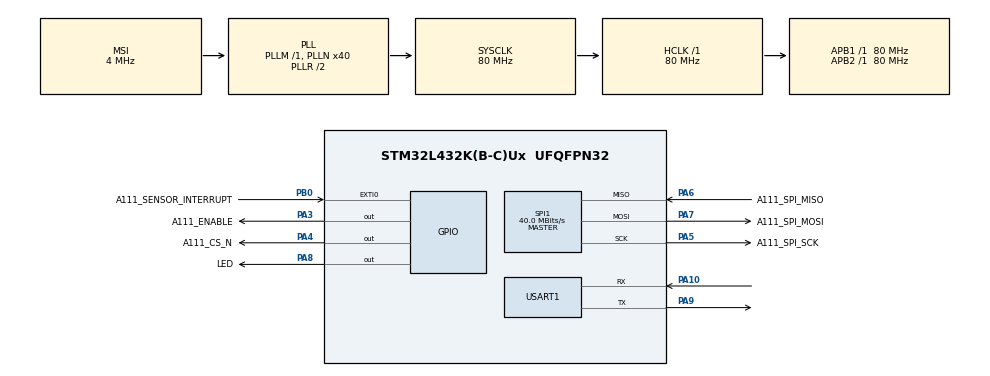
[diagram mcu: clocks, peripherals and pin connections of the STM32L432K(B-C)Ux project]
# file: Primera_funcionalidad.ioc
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Mcu.Family=STM32L4
Mcu.Name=STM32L432K(B-C)Ux
Mcu.Package=UFQFPN32
NVIC.EXTI0_IRQn=true\:0\:0\:false\:false\:true\:true\:true\:true
NVIC.PriorityGroup=NVIC_PRIORITYGROUP_4
NVIC.USART1_IRQn=true\:0\:0\:false\:false\:true\:true\:true\:true
PA10.Mode=Asynchronous
PA10.Signal=USART1_RX
PA13\ (JTMS-SWDIO).Mode=Trace_Asynchronous_SW
PA13\ (JTMS-SWDIO).Signal=SYS_JTMS-SWDIO
PA14\ (JTCK-SWCLK).Mode=Trace_Asynchronous_SW
PA14\ (JTCK-SWCLK).Signal=SYS_JTCK-SWCLK
PA3.GPIO_Label=A111_ENABLE
PA3.Signal=GPIO_Output
PA4.GPIO_Label=A111_CS_N
PA4.Signal=GPIO_Output
PA5.GPIO_Label=A111_SPI_SCK
PA5.Mode=Full_Duplex_Master
PA5.Signal=SPI1_SCK
PA6.GPIO_Label=A111_SPI_MISO
PA6.Mode=Full_Duplex_Master
PA6.Signal=SPI1_MISO
PA7.GPIO_Label=A111_SPI_MOSI
PA7.Mode=Full_Duplex_Master
PA7.Signal=SPI1_MOSI
PA8.GPIO_Label=LED
PA8.Signal=GPIO_Output
PA9.Mode=Asynchronous
PA9.Signal=USART1_TX
PB0.GPIO_Label=A111_SENSOR_INTERRUPT
PB0.Signal=GPXTI0
PB3\ (JTDO-TRACESWO).Mode=Trace_Asynchronous_SW
PB3\ (JTDO-TRACESWO).Signal=SYS_JTDO-SWO
PC14-OSC32_IN\ (PC14).Mode=LSE-External-Oscillator
PC14-OSC32_IN\ (PC14).Signal=RCC_OSC32_IN
PC15-OSC32_OUT\ (PC15).Mode=LSE-External-Oscillator
PC15-OSC32_OUT\ (PC15).Signal=RCC_OSC32_OUT
ProjectManager.HeapSize=0x200
ProjectManager.StackSize=0x400
ProjectManager.TargetToolchain=STM32CubeIDE
RCC.AHBFreq_Value=80000000
RCC.APB1Freq_Value=80000000
RCC.APB1TimFreq_Value=80000000
RCC.APB2Freq_Value=80000000
RCC.APB2TimFreq_Value=80000000
RCC.CortexFreq_Value=80000000
RCC.HCLKFreq_Value=80000000
RCC.HSE_VALUE=8000000
RCC.HSI48_VALUE=48000000
RCC.HSI_VALUE=16000000
RCC.MSI_VALUE=4000000
RCC.PLLN=40
RCC.RTCClockSelection=RCC_RTCCLKSOURCE_LSE
RCC.SYSCLKFreq_VALUE=80000000
RCC.SYSCLKSource=RCC_SYSCLKSOURCE_PLLCLK
RCC.VCOOutputFreq_Value=160000000
SPI1.CalculateBaudRate=40.0 MBits/s
SPI1.DataSize=SPI_DATASIZE_8BIT
SPI1.Direction=SPI_DIRECTION_2LINES
SPI1.Mode=SPI_MODE_MASTER
SPI1.VirtualType=VM_MASTER
USART1.SwapParam=ADVFEATURE_SWAP_DISABLE
USART1.VirtualMode-Asynchronous=VM_ASYNC
VP_RTC_VS_RTC_Activate.Mode=RTC_Enabled
board=custom

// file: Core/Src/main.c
/* USER CODE BEGIN Header */
/**
  ******************************************************************************
  * @file           : main.c
  * @brief          : Main program body
  ******************************************************************************
  * @attention
  *
  * <h2><center>&copy; Copyright (c) 2022 STMicroelectronics.
  * All rights reserved.</center></h2>
  *
  * This software component is licensed by ST under BSD 3-Clause license,
  * the "License"; You may not use this file except in compliance with the
  * License. You may obtain a copy of the License at:
  *                        opensource.org/licenses/BSD-3-Clause
  *
  ******************************************************************************
  */
/* USER CODE END Header */
#include "main.h"

/* USER CODE BEGIN Includes */

# include "example_assembly_test.h"

/* USER CODE END Includes */

RTC_HandleTypeDef hrtc;

SPI_HandleTypeDef hspi1;

UART_HandleTypeDef huart1;

/* USER CODE BEGIN PV */

uint8_t UART1_rxBuffer[12] = {0};

/* USER CODE END PV */

void SystemClock_Config(void);
static void MX_GPIO_Init(void);
static void MX_RTC_Init(void);
static void MX_SPI1_Init(void);
static void MX_USART1_UART_Init(void);
/* USER CODE BEGIN PFP */

extern int acc_ref_app_rf_certification_test ( int argc , char * argv []) ;
extern int acc_ref_app_smart_presence ( int argc , char * argv []) ;
extern int acc_ref_app_tank_level ( int argc , char * argv []) ;

/* USER CODE END PFP */

/* USER CODE BEGIN 0 */

/*int _write(int file ,char*ptr ,int len)
{
int i = 0;
for ( i = 0; i < len ; i ++)
{
ITM_SendChar ((* ptr ++) ) ;
}
return len ;
}*/

int _write(int file ,char*ptr ,int len)
{
(void) file ;
HAL_UART_Transmit (&huart1, ptr, len, 0xFFFF);
return len ;
}

/* USER CODE END 0 */

int main(void)
{

  /* MCU Configuration--------------------------------------------------------*/

  /* Reset of all peripherals, Initializes the Flash interface and the Systick. */
  HAL_Init();

  /* Configure the system clock */
  SystemClock_Config();

  /* Initialize all configured peripherals */
  MX_GPIO_Init();
  MX_RTC_Init();
  MX_SPI1_Init();
  MX_USART1_UART_Init();
  /* USER CODE BEGIN 2 */

  acc_ref_app_parking(0, NULL);
  acc_ref_app_smart_presence(0, NULL);
  acc_ref_app_tank_level(0, NULL);

  //acc_example_detector_distance(0, NULL);
  //acc_example_detector_distance_recorded(0, NULL);
  //acc_example_detector_presence(0, NULL);
  //acc_example_get_next_by_reference(0, NULL);

  //acc_example_service_power_bins(0, NULL);
  //acc_example_service_iq(0, NULL);
  //acc_example_service_sparse(0, NULL);
  //acc_example_service_envelope(0, NULL);
  //acc_example_multiple_service_usage(0, NULL);

  //acc_example_error_handling(0, NULL);    // check_distance_config_tool
  //acc_example_bring_up(0, NULL);
  //acc_ref_app_rf_certification_test(0, NULL);

  HAL_UART_Receive_IT (&huart1, UART1_rxBuffer, 12);

  /* USER CODE END 2 */

  /* Infinite loop */
  while (1)
  {

  }
}

void SystemClock_Config(void)
{
  RCC_OscInitTypeDef RCC_OscInitStruct = {0};
  RCC_ClkInitTypeDef RCC_ClkInitStruct = {0};

  /** Configure the main internal regulator output voltage
  */
  if (HAL_PWREx_ControlVoltageScaling(PWR_REGULATOR_VOLTAGE_SCALE1) != HAL_OK)
  {
    Error_Handler();
  }
  /** Configure LSE Drive Capability
  */
  HAL_PWR_EnableBkUpAccess();
  __HAL_RCC_LSEDRIVE_CONFIG(RCC_LSEDRIVE_LOW);
  /** Initializes the RCC Oscillators according to the specified parameters
  * in the RCC_OscInitTypeDef structure.
  */
  RCC_OscInitStruct.OscillatorType = RCC_OSCILLATORTYPE_LSE|RCC_OSCILLATORTYPE_MSI;
  RCC_OscInitStruct.LSEState = RCC_LSE_ON;
  RCC_OscInitStruct.MSIState = RCC_MSI_ON;
  RCC_OscInitStruct.MSICalibrationValue = 0;
  RCC_OscInitStruct.MSIClockRange = RCC_MSIRANGE_6;
  RCC_OscInitStruct.PLL.PLLState = RCC_PLL_ON;
  RCC_OscInitStruct.PLL.PLLSource = RCC_PLLSOURCE_MSI;
  RCC_OscInitStruct.PLL.PLLM = 1;
  RCC_OscInitStruct.PLL.PLLN = 40;
  RCC_OscInitStruct.PLL.PLLP = RCC_PLLP_DIV7;
  RCC_OscInitStruct.PLL.PLLQ = RCC_PLLQ_DIV2;
  RCC_OscInitStruct.PLL.PLLR = RCC_PLLR_DIV2;
  if (HAL_RCC_OscConfig(&RCC_OscInitStruct) != HAL_OK)
  {
    Error_Handler();
  }
  /** Initializes the CPU, AHB and APB buses clocks
  */
  RCC_ClkInitStruct.ClockType = RCC_CLOCKTYPE_HCLK|RCC_CLOCKTYPE_SYSCLK
                              |RCC_CLOCKTYPE_PCLK1|RCC_CLOCKTYPE_PCLK2;
  RCC_ClkInitStruct.SYSCLKSource = RCC_SYSCLKSOURCE_PLLCLK;
  RCC_ClkInitStruct.AHBCLKDivider = RCC_SYSCLK_DIV1;
  RCC_ClkInitStruct.APB1CLKDivider = RCC_HCLK_DIV1;
  RCC_ClkInitStruct.APB2CLKDivider = RCC_HCLK_DIV1;

  if (HAL_RCC_ClockConfig(&RCC_ClkInitStruct, FLASH_LATENCY_4) != HAL_OK)
  {
    Error_Handler();
  }
  /** Enable MSI Auto calibration
  */
  HAL_RCCEx_EnableMSIPLLMode();
}

static void MX_RTC_Init(void)
{

  /** Initialize RTC Only
  */
  hrtc.Instance = RTC;
  hrtc.Init.HourFormat = RTC_HOURFORMAT_24;
  hrtc.Init.AsynchPrediv = 127;
  hrtc.Init.SynchPrediv = 255;
  hrtc.Init.OutPut = RTC_OUTPUT_DISABLE;
  hrtc.Init.OutPutRemap = RTC_OUTPUT_REMAP_NONE;
  hrtc.Init.OutPutPolarity = RTC_OUTPUT_POLARITY_HIGH;
  hrtc.Init.OutPutType = RTC_OUTPUT_TYPE_OPENDRAIN;
  if (HAL_RTC_Init(&hrtc) != HAL_OK)
  {
    Error_Handler();
  }

}

static void MX_SPI1_Init(void)
{

  /* SPI1 parameter configuration*/
  hspi1.Instance = SPI1;
  hspi1.Init.Mode = SPI_MODE_MASTER;
  hspi1.Init.Direction = SPI_DIRECTION_2LINES;
  hspi1.Init.DataSize = SPI_DATASIZE_8BIT;
  hspi1.Init.CLKPolarity = SPI_POLARITY_LOW;
  hspi1.Init.CLKPhase = SPI_PHASE_1EDGE;
  hspi1.Init.NSS = SPI_NSS_SOFT;
  hspi1.Init.BaudRatePrescaler = SPI_BAUDRATEPRESCALER_2;
  hspi1.Init.FirstBit = SPI_FIRSTBIT_MSB;
  hspi1.Init.TIMode = SPI_TIMODE_DISABLE;
  hspi1.Init.CRCCalculation = SPI_CRCCALCULATION_DISABLE;
  hspi1.Init.CRCPolynomial = 7;
  hspi1.Init.CRCLength = SPI_CRC_LENGTH_DATASIZE;
  hspi1.Init.NSSPMode = SPI_NSS_PULSE_ENABLE;
  if (HAL_SPI_Init(&hspi1) != HAL_OK)
  {
    Error_Handler();
  }

}

static void MX_USART1_UART_Init(void)
{

  huart1.Instance = USART1;
  huart1.Init.BaudRate = 115200;
  huart1.Init.WordLength = UART_WORDLENGTH_8B;
  huart1.Init.StopBits = UART_STOPBITS_1;
  huart1.Init.Parity = UART_PARITY_NONE;
  huart1.Init.Mode = UART_MODE_TX_RX;
  huart1.Init.HwFlowCtl = UART_HWCONTROL_NONE;
  huart1.Init.OverSampling = UART_OVERSAMPLING_16;
  huart1.Init.OneBitSampling = UART_ONE_BIT_SAMPLE_DISABLE;
  huart1.AdvancedInit.AdvFeatureInit = UART_ADVFEATURE_NO_INIT;
  if (HAL_UART_Init(&huart1) != HAL_OK)
  {
    Error_Handler();
  }

}

static void MX_GPIO_Init(void)
{
  GPIO_InitTypeDef GPIO_InitStruct = {0};

  /* GPIO Ports Clock Enable */
  __HAL_RCC_GPIOC_CLK_ENABLE();
  __HAL_RCC_GPIOA_CLK_ENABLE();
  __HAL_RCC_GPIOB_CLK_ENABLE();

  /*Configure GPIO pin Output Level */
  HAL_GPIO_WritePin(GPIOA, A111_ENABLE_Pin|A111_CS_N_Pin|LED_Pin, GPIO_PIN_RESET);

  /*Configure GPIO pins : A111_ENABLE_Pin A111_CS_N_Pin LED_Pin */
  GPIO_InitStruct.Pin = A111_ENABLE_Pin|A111_CS_N_Pin|LED_Pin;
  GPIO_InitStruct.Mode = GPIO_MODE_OUTPUT_PP;
  GPIO_InitStruct.Pull = GPIO_NOPULL;
  GPIO_InitStruct.Speed = GPIO_SPEED_FREQ_LOW;
  HAL_GPIO_Init(GPIOA, &GPIO_InitStruct);

  /*Configure GPIO pin : A111_SENSOR_INTERRUPT_Pin */
  GPIO_InitStruct.Pin = A111_SENSOR_INTERRUPT_Pin;
  GPIO_InitStruct.Mode = GPIO_MODE_IT_RISING;
  GPIO_InitStruct.Pull = GPIO_NOPULL;
  HAL_GPIO_Init(A111_SENSOR_INTERRUPT_GPIO_Port, &GPIO_InitStruct);

  /* EXTI interrupt init*/
  HAL_NVIC_SetPriority(EXTI0_IRQn, 0, 0);
  HAL_NVIC_EnableIRQ(EXTI0_IRQn);

}

/* USER CODE BEGIN 4 */

uint16_t ProcesarByte(uint8_t data, uint16_t crc){

  int POLY = 0x1021;
  crc = crc ^((uint16_t)data << 8);
  for(uint8_t i = 0;i<8; i++)
  {
    if(crc & 0x8000)
    {
      crc = (crc << 1) ^ POLY;
    }
    else
    {
      crc <<=1;
    }
  }
  return crc;
}

uint16_t CalcularCRC16(unsigned char* data, uint8_t longitud){

  uint16_t crc = 0;
  longitud = longitud - 3;
  while (longitud--)
  {
    crc = ProcesarByte(*data++,crc);
  }
  return crc;
}

/* USER CODE END 4 */

void Error_Handler(void)
{
  __disable_irq();
  while (1)
  {
  }
}

/************************ (C) COPYRIGHT STMicroelectronics *****END OF FILE****/
